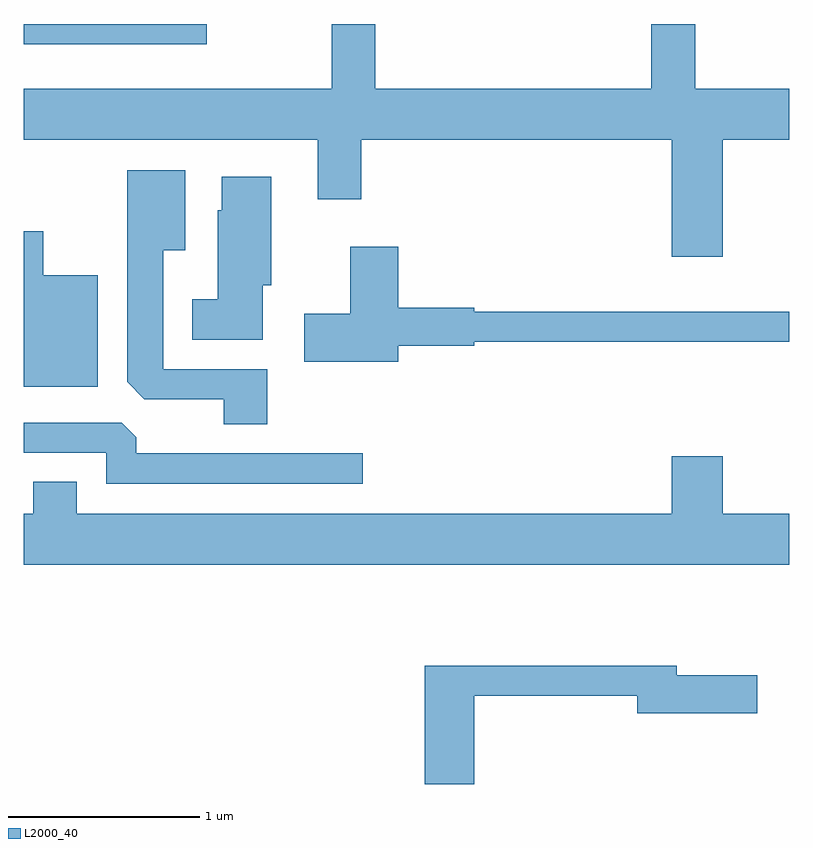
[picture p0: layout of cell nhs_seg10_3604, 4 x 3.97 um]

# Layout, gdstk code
import gdstk
lib = gdstk.Library(unit=1e-6, precision=1e-09)
def R(c, l, rs):  # rectangles x0, y0, x1, y1
    for r in rs: c.add(gdstk.rectangle(r[:2], r[2:], *l))
def P(c, l, *ps):  # polygons
    for p in ps: c.add(gdstk.Polygon(p, *l))
L2000_40 = (2000, 40)

nhs_seg10_3604 = lib.new_cell('nhs_seg10_3604')
R(nhs_seg10_3604, L2000_40, [(291.611,2114.416,292.568,2114.522)])
P(nhs_seg10_3604, L2000_40, [(295.264,2113.916),(295.611,2113.916),(295.611,2114.184),(295.119,2114.184),(295.119,2114.522),(294.891,2114.522),(294.891,2114.184),(293.449,2114.184),(293.449,2114.522),(293.221,2114.522),(293.221,2114.184),(291.611,2114.184),(291.611,2113.916),(293.146,2113.916),(293.146,2113.606),(293.374,2113.606),(293.374,2113.916),(294.996,2113.916),(294.996,2113.306),(295.264,2113.306)],
  [(292.884,2112.719),(292.339,2112.719),(292.339,2113.341),(292.454,2113.341),(292.454,2113.759),(292.151,2113.759),(292.151,2112.652),(292.242,2112.561),(292.656,2112.561),(292.656,2112.431),(292.884,2112.431)],
  [(292.859,2113.156),(292.904,2113.156),(292.904,2113.724),(292.646,2113.724),(292.646,2113.549),(292.626,2113.549),(292.626,2113.084),(292.491,2113.084),(292.491,2112.871),(292.859,2112.871)],
  [(291.999,2113.209),(291.714,2113.209),(291.714,2113.439),(291.611,2113.439),(291.611,2112.626),(291.999,2112.626)],
  [(293.569,2112.841),(293.964,2112.841),(293.964,2112.861),(295.611,2112.861),(295.611,2113.019),(293.964,2113.019),(293.964,2113.039),(293.569,2113.039),(293.569,2113.359),(293.316,2113.359),(293.316,2113.009),(293.076,2113.009),(293.076,2112.756),(293.569,2112.756)],
  [(293.383,2112.279),(292.199,2112.279),(292.199,2112.364),(292.124,2112.439),(291.611,2112.439),(291.611,2112.281),(292.041,2112.281),(292.041,2112.121),(293.383,2112.121)],
  [(295.611,2111.964),(295.264,2111.964),(295.264,2112.264),(294.996,2112.264),(294.996,2111.964),(291.889,2111.964),(291.889,2112.129),(291.661,2112.129),(291.661,2111.964),(291.611,2111.964),(291.611,2111.696),(295.611,2111.696)],
  [(293.964,2111.011),(294.816,2111.011),(294.816,2110.921),(295.444,2110.921),(295.444,2111.119),(295.024,2111.119),(295.024,2111.169),(293.706,2111.169),(293.706,2110.551),(293.964,2110.551)])

lib.write_gds('nhs_seg10_3604.gds')
